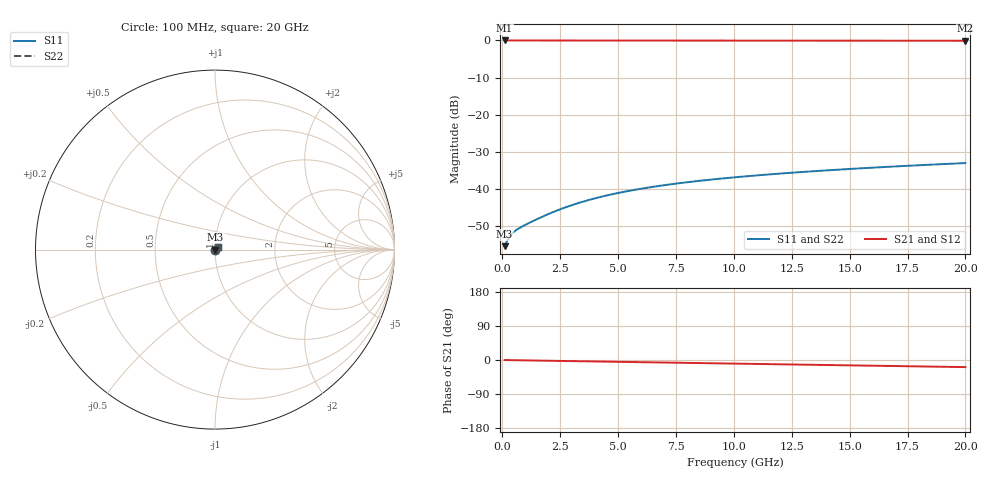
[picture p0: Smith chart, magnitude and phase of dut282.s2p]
! Touchstone file exported from HFSS 2026.1.0
!  File:  C:/ffzhzh/LocalFiles/Ansys_Project_Files/temp_train_TMRDL_282_1782985367_40604.aedt
!  Generated:  05:43:56 PM Jul  2, 2026
!  Design:  TMRDL
!  Project:  temp_train_TMRDL_282_1782985367_40604
! Variables:
!  h_bsmrdl = 2um
!  h_ox = 20um
!  h_rdl = 5um
!  h_sub = 80um
!  h_tmrdl = 4um
!  h_tsv = 80um
!  h_via = 3um
!  l_bsmrdl = 300um
!  l_sub = 728.55um
!  l_tmrdl = 328.55um
!  m_sub = 200um
!  pitch = 25.19um
!  r_tsv = 6um
!  s_tmrdl = 10um
!  w_bsmrdl = 18um
!  w_sub = 500um
!  w_tmrdl = 20.43um
!  x_tsv_center1 = 338.765um
!  x_tsv_center2 = 656.765um
!  x_tsv_center3 = 1005.745um
!  x_tsv_center4 = 1323.745um
!  x_tsv_center5 = 1672.725um
!  x_tsv_center6 = 1990.725um
# GHz S MA R 50.000000
! Terminal data exported
! Port[1] = TM_RDL1_1_T1
! Port[2] = TM_RDL1_1_T2
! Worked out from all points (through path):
!   200 points, 100 MHz to 20 GHz, reference 50 ohm
!   highest |S21| = -0.01 dB at 100 MHz (marker M1); lowest = -0.1 dB at 20 GHz (marker M2)
!   group delay of S21, straight-line fit = 2.59 ps
!   lowest |S11| = -55.4 dB at 100 MHz (marker M3), VSWR 1.00, Z = 50.2 + j0.044 ohm
!   |S11| at or under -10 dB: start of sweep to end of sweep
!   |S22| runs from -55.4 to -33.0 dB; largest |S21 - S12| = 4.1e-15
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0.1  0.001707 14.9  0.9984 -0.1  0.9984 -0.1  0.001707 14.9
! Gamma 0 0 0 0
! Port Impedance 50 0 50 0
0.2  0.001986 23.2  0.9982 -0.2  0.9982 -0.2  0.001986 23.2
0.3  0.002258 26.9  0.998 -0.3  0.998 -0.3  0.002258 26.9
0.4  0.00248 28.8  0.9978 -0.4  0.9978 -0.4  0.00248 28.8
0.5  0.002658 30.3  0.9977 -0.5  0.9977 -0.5  0.002658 30.3
0.6  0.002808 31.6  0.9976 -0.6  0.9976 -0.6  0.002808 31.6
0.8  0.003067 34.5  0.9975 -0.8  0.9975 -0.8  0.003067 34.5
1.1  0.003432 38.8  0.9974 -1.1  0.9974 -1.1  0.003431 38.8
1.5  0.003942 43.7  0.9972 -1.5  0.9972 -1.5  0.003942 43.7
2.2  0.004914 49.6  0.9969 -2.2  0.9969 -2.2  0.004914 49.6
2.8  0.005785 52.4  0.9967 -2.7  0.9967 -2.7  0.005785 52.4
3.5  0.0068 54.1  0.9963 -3.4  0.9963 -3.4  0.006799 54.1
4.2  0.007786 54.8  0.9959 -4.1  0.9959 -4.1  0.007786 54.8
5  0.008863 54.9  0.9955 -4.8  0.9955 -4.8  0.008862 54.9
5.9  0.01 54.5  0.995 -5.7  0.995 -5.7  0.01 54.5
6.8  0.01107 53.9  0.9945 -6.5  0.9945 -6.5  0.01107 53.9
8.3  0.0127 52.7  0.9937 -7.9  0.9937 -7.9  0.0127 52.7
10.1  0.01447 51.2  0.9928 -9.6  0.9928 -9.6  0.01447 51.2
11.7  0.01592 49.9  0.9922 -11.1  0.9922 -11.1  0.01591 50.0
13.4  0.01736 48.7  0.9915 -12.7  0.9915 -12.7  0.01736 48.7
16.7  0.01997 46.3  0.9904 -15.7  0.9904 -15.7  0.01997 46.3
20  0.02239 43.9  0.9893 -18.8  0.9893 -18.8  0.02239 43.9
